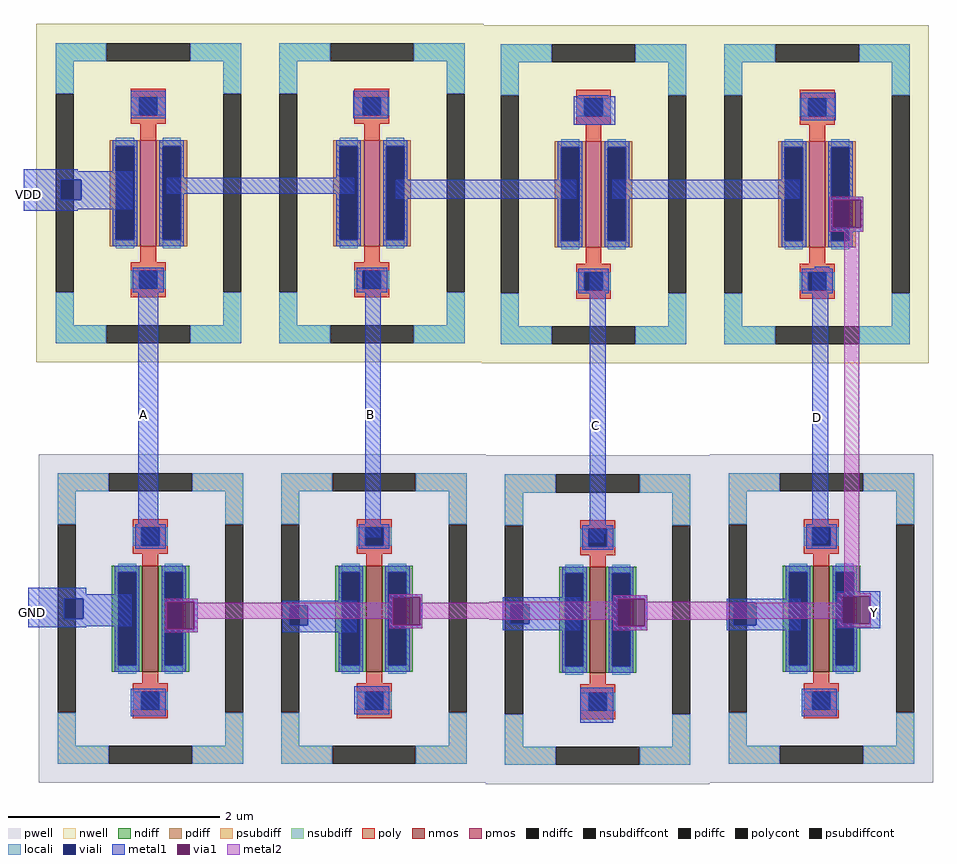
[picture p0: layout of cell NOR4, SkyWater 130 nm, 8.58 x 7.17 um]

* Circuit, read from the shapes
.subckt NOR4 A B C D GND VDD Y
XM1 Y A GND GND sky130_fd_pr__nfet_01v8 w=1 l=0.15
XM2 Y B GND GND sky130_fd_pr__nfet_01v8 w=1 l=0.15
XM3 Y C GND GND sky130_fd_pr__nfet_01v8 w=1 l=0.15
XM4 Y D GND GND sky130_fd_pr__nfet_01v8 w=1 l=0.15
XM5 XM7/D A VDD VDD sky130_fd_pr__pfet_01v8 w=1 l=0.15
XM6 sky130_fd_pr__pfet_01v8_KBS6X7_0/D B XM7/D VDD sky130_fd_pr__pfet_01v8 w=1 l=0.15
XM7 XM9/D C sky130_fd_pr__pfet_01v8_KBS6X7_0/D VDD sky130_fd_pr__pfet_01v8 w=1 l=0.15
XM8 Y D XM9/D VDD sky130_fd_pr__pfet_01v8 w=1 l=0.15
.ends

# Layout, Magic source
magic
tech sky130A
magscale 1 2
<< viali >>
rect -134 1120 -96 1158
rect -128 330 -92 368
rect 298 318 332 354
rect 714 320 750 356
rect 1136 318 1178 360
<< metal1 >>
rect -2 1274 64 1326
rect 418 1274 484 1326
rect 842 1316 900 1318
rect 834 1262 912 1316
rect 1262 1270 1328 1322
rect -204 1174 -102 1178
rect -204 1158 2 1174
rect -204 1120 -134 1158
rect -96 1120 2 1158
rect 66 1132 420 1162
rect 498 1122 838 1158
rect 906 1122 1260 1158
rect -204 1102 2 1120
rect 1316 1120 1380 1126
rect -204 1100 -102 1102
rect 1316 1068 1322 1120
rect 1376 1068 1380 1120
rect 1316 1060 1380 1068
rect 1288 990 1316 994
rect 1288 988 1314 990
rect 12 470 50 986
rect 440 484 470 986
rect 864 968 890 986
rect 864 490 894 968
rect 864 474 890 490
rect 1284 478 1314 988
rect 1284 472 1310 478
rect -196 376 -86 388
rect -196 368 0 376
rect 486 370 548 376
rect -196 330 -128 368
rect -92 330 0 368
rect -196 316 0 330
rect 62 362 124 368
rect -196 314 -86 316
rect 62 310 66 362
rect 118 310 124 362
rect 62 304 124 310
rect 284 354 424 364
rect 284 318 298 354
rect 332 318 424 354
rect 284 304 424 318
rect 486 318 492 370
rect 544 318 548 370
rect 486 312 548 318
rect 700 356 846 370
rect 700 320 714 356
rect 750 320 846 356
rect 700 308 846 320
rect 908 368 972 374
rect 1328 372 1412 382
rect 908 316 916 368
rect 968 316 972 368
rect 908 308 972 316
rect 1122 360 1262 368
rect 1122 318 1136 360
rect 1178 318 1262 360
rect 1122 308 1262 318
rect 1328 320 1340 372
rect 1392 320 1412 372
rect 1328 312 1412 320
rect -2 146 64 198
rect 420 150 486 202
rect 846 134 908 200
rect 1264 146 1330 198
<< via1 >>
rect 1322 1068 1376 1120
rect 66 310 118 362
rect 492 318 544 370
rect 916 316 968 368
rect 1340 320 1392 372
<< metal2 >>
rect 1316 1120 1380 1126
rect 1316 1068 1322 1120
rect 1376 1068 1380 1120
rect 1316 1060 1380 1068
rect 1344 378 1372 1060
rect 486 370 548 376
rect 62 362 124 368
rect 62 310 66 362
rect 118 360 124 362
rect 486 360 492 370
rect 118 330 492 360
rect 118 310 124 330
rect 486 318 492 330
rect 544 360 548 370
rect 908 368 972 374
rect 908 362 916 368
rect 674 360 916 362
rect 544 330 916 360
rect 544 318 548 330
rect 674 328 916 330
rect 486 312 548 318
rect 908 316 916 328
rect 968 362 972 368
rect 1332 372 1394 378
rect 968 360 1124 362
rect 1332 360 1340 372
rect 968 330 1340 360
rect 968 328 1124 330
rect 968 316 972 328
rect 62 304 124 310
rect 908 308 972 316
rect 1332 320 1340 330
rect 1392 320 1394 372
rect 1332 314 1394 320
use sky130_fd_pr__nfet_01v8_SFU2NW  sky130_fd_pr__nfet_01v8_SFU2NW_0
transform 1 0 1301 0 1 330
box -211 -310 211 310
use sky130_fd_pr__nfet_01v8_SFU2NW  sky130_fd_pr__nfet_01v8_SFU2NW_1
transform 1 0 879 0 1 328
box -211 -310 211 310
use sky130_fd_pr__pfet_01v8_KBS6X7  sky130_fd_pr__pfet_01v8_KBS6X7_0
transform 1 0 871 0 1 1131
box -211 -319 211 319
use sky130_fd_pr__pfet_01v8_KBS6X7  XM5
transform 1 0 31 0 1 1133
box -211 -319 211 319
use sky130_fd_pr__nfet_01v8_SFU2NW  XM6
transform 1 0 35 0 1 330
box -211 -310 211 310
use sky130_fd_pr__pfet_01v8_KBS6X7  XM7
transform 1 0 453 0 1 1133
box -211 -319 211 319
use sky130_fd_pr__nfet_01v8_SFU2NW  XM8
transform 1 0 457 0 1 330
box -211 -310 211 310
use sky130_fd_pr__pfet_01v8_KBS6X7  XM9
transform 1 0 1293 0 1 1131
box -211 -319 211 319
<< labels >>
rlabel metal1 -196 1130 -196 1130 1 VDD
rlabel metal1 -188 342 -188 342 1 GND
rlabel metal1 22 716 22 716 1 A
rlabel metal1 450 716 450 716 1 B
rlabel metal1 1402 342 1402 342 1 Y
rlabel metal1 874 694 874 694 1 C
rlabel metal1 1294 710 1294 710 1 D
<< end >>

# cell sky130_fd_pr__nfet_01v8_SFU2NW: kit device sky130_fd_pr__nfet_01v8, w 1.0 l 0.15 m 1 nf 1 diffcov 100 polycov 100 guard 1 glc 1 grc 1 gtc 1 gbc 1 tbcov 100 rlcov 100 topc 1 botc 1 poverlap 0 doverlap 1 lmin 0.15 wmin 0.42 class mosfet compatible {sky130_fd_pr__nfet_01v8 sky130_fd_pr__nfet_01v8_lvt sky130_fd_bs_flash__special_sonosfet_star sky130_fd_pr__nfet_g5v0d10v5 sky130_fd_pr__nfet_05v0_nvt sky130_fd_pr__nfet_03v3_nvt} full_metal 1 viasrc 100 viadrn 100 viagate 100 viagb 0 viagr 0 viagl 0 viagt 0 doports 1 ad {int((nf+1)/2) * W/nf * 0.29} as {int((nf+2)/2) * W/nf * 0.29} pd {2*int((nf+1)/2) * (W/nf + 0.29)} ps {2*int((nf+2)/2) * (W/nf + 0.29)} nrd {0.29 / W} nrs {0.29 / W} sa 0 sb 0 sd 0 mult 1

# cell sky130_fd_pr__pfet_01v8_KBS6X7: kit device sky130_fd_pr__pfet_01v8, w 1.0 l 0.15 m 1 nf 1 diffcov 100 polycov 100 guard 1 glc 1 grc 1 gtc 1 gbc 1 tbcov 100 rlcov 100 topc 1 botc 1 poverlap 0 doverlap 1 lmin 0.15 wmin 0.42 class mosfet compatible {sky130_fd_pr__pfet_01v8 sky130_fd_pr__pfet_01v8_lvt sky130_fd_pr__pfet_01v8_hvt sky130_fd_pr__pfet_g5v0d10v5} full_metal 1 viasrc 100 viadrn 100 viagate 100 viagb 0 viagr 0 viagl 0 viagt 0 doports 1 ad {int((nf+1)/2) * W/nf * 0.29} as {int((nf+2)/2) * W/nf * 0.29} pd {2*int((nf+1)/2) * (W/nf + 0.29)} ps {2*int((nf+2)/2) * (W/nf + 0.29)} nrd {0.29 / W} nrs {0.29 / W} sa 0 sb 0 sd 0 mult 1
